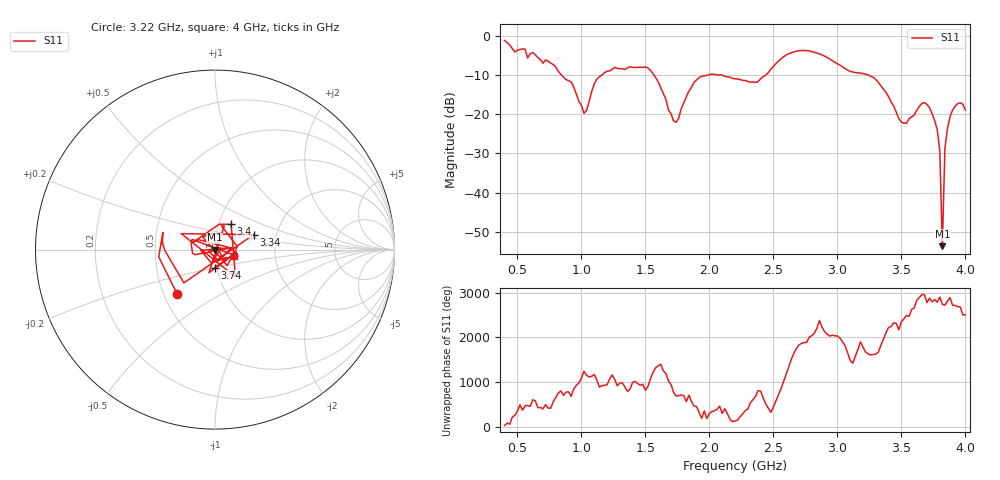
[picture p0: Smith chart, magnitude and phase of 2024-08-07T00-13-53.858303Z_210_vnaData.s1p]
!Created with skrf (http://scikit-rf.org).
# Hz S RI R 50.0
!freq ReS11 ImS11
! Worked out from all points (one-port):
!   181 points, 400 MHz to 4 GHz, reference 50 ohm
!   lowest |S11| = -53.6 dB at 3.82 GHz (marker M1), VSWR 1.00, Z = 49.8 - j0.122 ohm
!   |S11| at or under -10 dB: 1.567 GHz to 1.991 GHz (424.3 MHz wide, 23.9 % of centre); 2.093 GHz to 2.441 GHz (348.5 MHz wide, 15.4 % of centre); 3.24 GHz to end of sweep (the widest 3 of 4)
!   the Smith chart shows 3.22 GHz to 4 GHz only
!   S11 on the Smith chart (normalised r, x): 3.22 GHz: 0.59, -0.32; 3.34 GHz: 1.52, +0.27; 3.4 GHz: 1.15, +0.33; 3.74 GHz: 0.98, -0.20; 4 GHz: 1.24, -0.08
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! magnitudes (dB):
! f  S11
! 400 MHz  -1.2
! 860 MHz  -10.5
! 920 MHz  -11.8
! 1.02 GHz  -19.8
! 1.12 GHz  -11.1
! 1.3 GHz  -8.4
! 1.52 GHz  -8.2
! 1.72 GHz  -21.7
! 1.76 GHz  -21.0
! 1.92 GHz  -10.7
! 2.2 GHz  -11.0
! 2.38 GHz  -11.7
! 2.66 GHz  -4.1
! 3.1 GHz  -9.1
! 3.22 GHz  -9.8
! 3.34 GHz  -12.8
! 3.4 GHz  -15.5
! 3.5 GHz  -22.0
! 3.56 GHz  -21.1
! 3.68 GHz  -17.0
! 3.74 GHz  -19.9
! 3.78 GHz  -23.9
! 3.8 GHz  -29.4
! 3.82 GHz  -53.6
! 3.84 GHz  -28.7
! 3.86 GHz  -23.6
! 3.92 GHz  -17.9
! 4 GHz  -18.9
